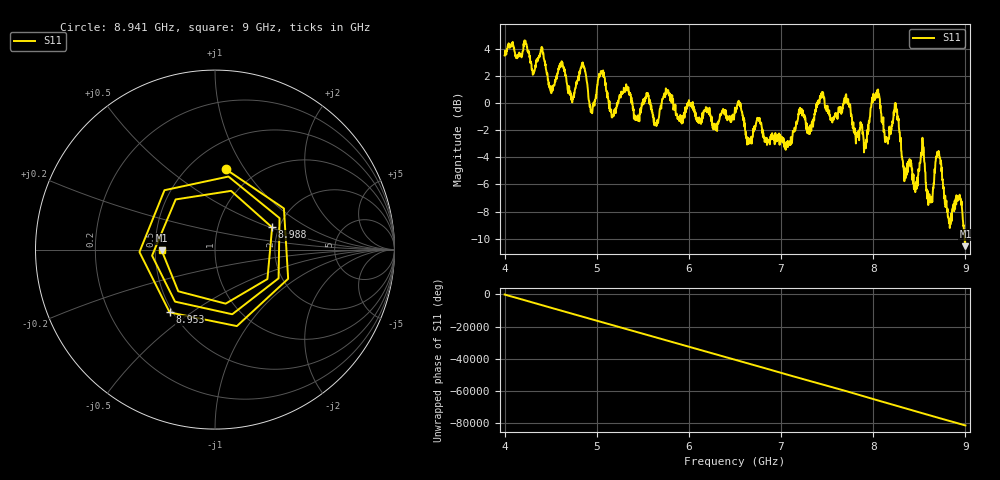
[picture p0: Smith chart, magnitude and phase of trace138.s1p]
! Created with skrf 1.8.0 (http://scikit-rf.org).
# Hz S RI R 50.0
!freq ReS11 ImS11
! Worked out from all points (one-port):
!   1601 points, 4 GHz to 9 GHz, reference 50 ohm
!   lowest |S11| = -10.5 dB at 9 GHz (marker M1), VSWR 1.85, Z = 27.1 - j0.258 ohm
!   |S11| at or under -10 dB: 8.992981 GHz to end of sweep
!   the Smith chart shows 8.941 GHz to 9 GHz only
!   S11 on the Smith chart (normalised r, x): 8.941 GHz: 0.74, +0.83; 8.953 GHz: 0.48, -0.41; 8.988 GHz: 1.84, +0.52; 9 GHz: 0.54, -0.01
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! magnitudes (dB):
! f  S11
! 4 GHz  3.5
! 4.406 GHz  3.9
! 4.509 GHz  0.7
! 4.625 GHz  3.0
! 4.731 GHz  0.2
! 4.856 GHz  2.6
! 4.944 GHz  -0.5
! 5.05 GHz  2.3
! 5.166 GHz  -1.1
! 5.25 GHz  0.6
! 5.875 GHz  -1.1
! 6.5 GHz  -0.3
! 7.125 GHz  -2.4
! 7.444 GHz  0.8
! 7.75 GHz  -0.1
! 7.916 GHz  -2.9
! 8.022 GHz  0.6
! 8.147 GHz  -2.7
! 8.247 GHz  -0.2
! 8.375 GHz  -4.7
! 8.538 GHz  -3.0
! 8.619 GHz  -7.3
! 8.703 GHz  -3.8
! 8.825 GHz  -8.8
! 8.941 GHz  -6.9
! 8.953 GHz  -7.3
! 8.988 GHz  -9.3
! 9 GHz  -10.5
